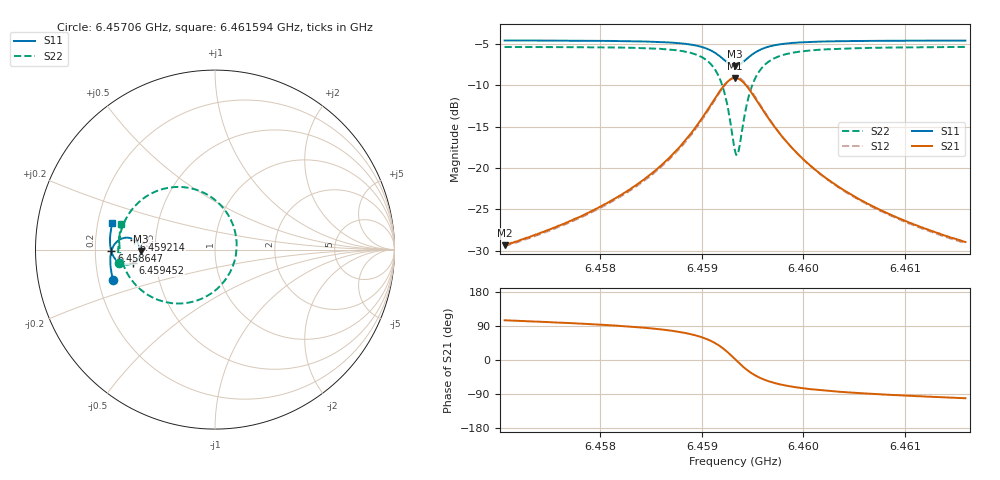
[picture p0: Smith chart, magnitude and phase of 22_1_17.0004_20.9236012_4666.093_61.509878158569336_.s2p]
#  HZ  S  RI  R  50.00
! Rohde & Schwarz Vector Network Analyzer
! Rohde-Schwarz,ZNB20-2Port,1311601062101988,3.16
! Created: UTC 3/20/2024, 10:53:01 PM
! freq[Hz]  re:S11  im:S11  re:S21  im:S21  re:S12  im:S12  re:S22  im:S22
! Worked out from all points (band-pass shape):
!   401 points, 6.45706 GHz to 6.461594 GHz, reference 50 ohm
!   highest |S21| = -9.10 dB at 6.459327 GHz (marker M1); lowest = -29.3 dB at 6.45706 GHz (marker M2)
!   |S21| within 3 dB of the highest: 6.459102 GHz to 6.459555 GHz (452.9 kHz wide, 0.00701 % of centre)
!   lowest |S11| = -7.6 dB at 6.459327 GHz (marker M3), VSWR 2.42, Z = 20.7 - j0.391 ohm
!   |S11| at or under -10 dB: nowhere
!   |S22| runs from -18.4 to -5.3 dB; largest |S21 - S12| = 0.014
!   S11 on the Smith chart (normalised r, x): 6.45706 GHz: 0.26, -0.13; 6.458647 GHz: 0.27, -0.01; 6.459214 GHz: 0.38, +0.05; 6.459452 GHz: 0.37, -0.07; 6.461594 GHz: 0.26, +0.12
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6.45706e9  -0.5677 -0.1674  -0.00876 0.033  -0.00691 0.0329  -0.5345 -0.0769
6.4578195e9  -0.5811 -0.1007  -0.00518 0.0511  -0.00269 0.0505  -0.5386 0.0129
6.4582275e9  -0.5837 -0.0596  0.000685 0.0701  0.00389 0.0687  -0.5299 0.078
6.4585789e9  -0.5795 -0.0174  0.015 0.0999  0.0191 0.097  -0.5032 0.1578
6.458647e9  -0.5771 -0.00784  0.0206 0.1084  0.0246 0.1051  -0.4929 0.1777
6.4588397e9  -0.5643 0.0225  0.0475 0.1393  0.0517 0.1343  -0.442 0.2469
6.458987e9  -0.5414 0.0488  0.0935 0.1699  0.0964 0.1632  -0.3576 0.311
6.4591231e9  -0.4971 0.0664  0.1811 0.1864  0.182 0.1792  -0.1971 0.3491
6.4592137e9  -0.4519 0.0562  0.2721 0.155  0.272 0.1496  -0.0296 0.2982
6.4592818e9  -0.4223 0.0237  0.3334 0.0826  0.3356 0.0778  0.0875 0.1676
6.4593271e9  -0.4149 -0.00783  0.3504 0.0138  0.3541 0.00747  0.1206 0.0392
6.4593611e9  -0.4187 -0.0318  0.3447 -0.0394  0.3489 -0.0482  0.1093 -0.0618
6.4594064e9  -0.4343 -0.0587  0.3158 -0.1004  0.3185 -0.1121  0.0508 -0.1773
6.4594518e9  -0.4566 -0.0757  0.273 -0.1424  0.2727 -0.1556  -0.0358 -0.2535
6.4595425e9  -0.501 -0.083  0.1868 -0.1741  0.1806 -0.1859  -0.2081 -0.3004
6.4596105e9  -0.5256 -0.0758  0.1373 -0.1719  0.1294 -0.1811  -0.3032 -0.2848
6.4596898e9  -0.5456 -0.0626  0.097 -0.1596  0.0886 -0.166  -0.3785 -0.2494
6.4598485e9  -0.5676 -0.0347  0.0514 -0.1311  0.0437 -0.1338  -0.4598 -0.1757
6.4600866e9  -0.5806 0.000884  0.0222 -0.0989  0.0161 -0.0993  -0.508 -0.092
6.460438e9  -0.5852 0.0429  0.00574 -0.0708  0.0017 -0.0703  -0.5295 -0.0102
6.4608461e9  -0.5833 0.0842  -0.00175 -0.0527  -0.00448 -0.0517  -0.533 0.0559
6.4615942e9  -0.5713 0.1507  -0.00675 -0.0351  -0.00836 -0.0341  -0.5212 0.1452
